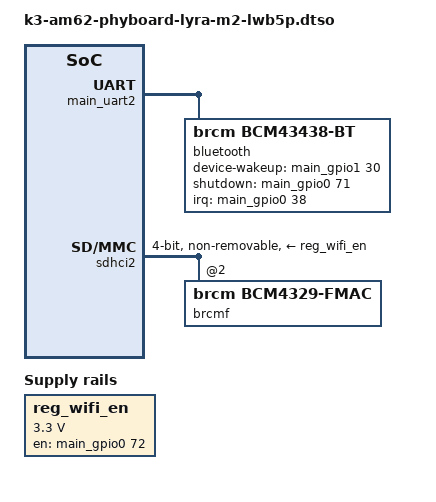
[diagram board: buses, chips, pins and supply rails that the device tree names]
// SPDX-License-Identifier: GPL-2.0
/*
 * Copyright (C) 2023 PHYTEC America LLC
 * Author: Garrett Giordano <ggiordano@phytec.com>
 */

/dts-v1/;
/plugin/;

#include <dt-bindings/gpio/gpio.h>
#include "k3-pinctrl.h"
#include <dt-bindings/interrupt-controller/arm-gic.h>

&{/} {
	aliases {
		serial4 = "/bus@f0000/serial@2820000";
	};

	reg_wifi_en: fixed-regulator-wifi-en {
		compatible = "regulator-fixed";
		regulator-name = "wifi_en";
		regulator-min-microvolt = <3300000>;
		regulator-max-microvolt = <3300000>;
		pinctrl-names = "default";
		pinctrl-0 = <&wifi_en_pins_default>;
		regulator-always-on;
		enable-active-high;
		gpio = <&main_gpio0 72 GPIO_ACTIVE_HIGH>;
	};
};

&main_pmx0 {
	bt_uart2_pins_default: bt-uart2-pins-default {
		pinctrl-single,pins = <
			AM62X_IOPAD(0x060, PIN_OUTPUT, 2) /* (R25) GPMC0_AD9.UART2_TXD */
			AM62X_IOPAD(0x05c, PIN_INPUT, 2) /* (R24) GPMC0_AD8.UART2_RXD */
			AM62X_IOPAD(0x074, PIN_INPUT, 8) /* (U25) GPMC0_AD14.UART2_CTSn */
			AM62X_IOPAD(0x078, PIN_OUTPUT, 8) /* (U24) GPMC0_AD15.UART2_RTSn */
		>;
	};

	bt_en_pins_default: bt-en-pins-default{
		pinctrl-single,pins = <
			AM62X_IOPAD(0x09c, PIN_INPUT, 7) /* (V25) GPMC0_WAIT1.GPIO0_38 */
			AM62X_IOPAD(0x1f0, PIN_INPUT, 7) /* (A18) EXT_REFCLK.GPIO1_30 */
			AM62X_IOPAD(0x124, PIN_INPUT, 7) /* (A23) MMC2_SDCD.GPIO0_71 */
		>;
	};

	main_mmc2_wifi_pins_default: main-mmc2-wifi-pins-default {
		pinctrl-single,pins = <
			AM62X_IOPAD(0x108, PIN_INPUT, 0) /* (D24) MMC2_DAT3 */
			AM62X_IOPAD(0x10c, PIN_INPUT, 0) /* (E23) MMC2_DAT2 */
			AM62X_IOPAD(0x110, PIN_INPUT, 0) /* (C25) MMC2_DAT1 */
			AM62X_IOPAD(0x114, PIN_INPUT, 0) /* (B24) MMC2_DAT0 */
			AM62X_IOPAD(0x118, PIN_INPUT, 0) /* (D25) MMC2_CLK */
			AM62X_IOPAD(0x120, PIN_INPUT, 0) /* (C24) MMC2_CMD */
			AM62X_IOPAD(0x11c, PIN_INPUT, 0) /* (#N/A) MMC2_CLKB */
		>;
	};

	wifi_en_pins_default: wifi-en-pins-default {
		pinctrl-single,pins = <
			AM62X_IOPAD(0x128, PIN_OUTPUT, 7) /* (B23) MMC2_SDWP.GPIO0_72 */
		>;
	};

	wifi_wlirq_pins_default: wifi-wlirq-pins-default {
		pinctrl-single,pins = <
			AM62X_IOPAD(0x044, PIN_INPUT, 7) /* (N24) GPMC0_AD2.GPIO0_17 */
		>;
	};
};

&main_uart2 {
	pinctrl-names = "default";
	pinctrl-0 = <&bt_uart2_pins_default>;
	status = "okay";
	uart-has-rtscts;

	bluetooth: bluetooth {
		compatible = "brcm,bcm43438-bt";
		pinctrl-names = "default";
		pinctrl-0 = <&bt_en_pins_default>;
		/* BT Device Control interrupts */
		interrupt-names = "host-wakeup";
		interrupt-parent = <&main_gpio0>;
		interrupts = <38 IRQ_TYPE_EDGE_BOTH>;
		device-wakeup-gpios = <&main_gpio1 30 GPIO_ACTIVE_HIGH>;
		shutdown-gpios = <&main_gpio0 71 GPIO_ACTIVE_HIGH>;
	};
};

&sdhci2 {
	#address-cells = <1>;
	#size-cells = <0>;

	status = "okay";
	pinctrl-names = "default";
	pinctrl-0 = <&main_mmc2_wifi_pins_default>;
	vmmc-supply = <&reg_wifi_en>;
	bus-width = <4>;
	non-removable;
	no-1-8-v;
	ti,fails-without-test-cd;
	cap-power-off-card;
	keep-power-in-suspend;
	ti,driver-strength-ohm = <50>;
	pm-ignore-notify;

	assigned-clocks = <&k3_clks 157 158>;
	assigned-clock-parents = <&k3_clks 157 160>;

	brcmf: wifi@2 {
		compatible = "brcm,bcm4329-fmac";
		reg = <2>;
		pinctrl-names = "default";
		pinctrl-0 = <&wifi_wlirq_pins_default>;
	};
};
